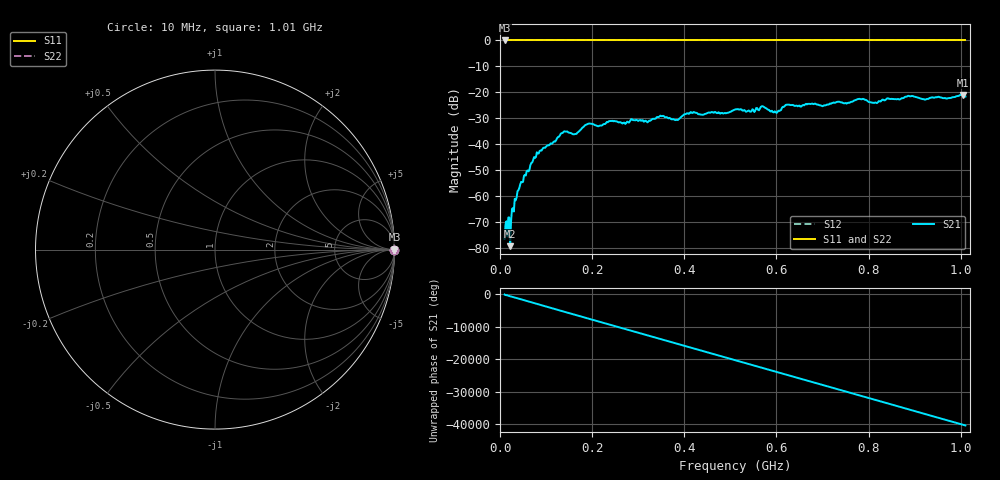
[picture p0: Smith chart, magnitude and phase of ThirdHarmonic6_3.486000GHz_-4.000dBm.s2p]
! 8/17/2025 11:20:52 AM
! C:\ANRITSUVNA\TEMP\TEMP.S2P
! CHANNEL.1
! TR.MEASUREMENT
! RAW.DATA
! RF.CORRECTION.OFF
! AVERAGING.OFF
! IF.BANDWIDTH: 5KHZ
! SWEEPTYPE:  FREQ.SWEEP(Linear)
! Reference Plane Port Info
! PORT:  PORT1  PORT2
! DISTANCE:  0  m  0  m
! TIME:  0  s  0  s
! PHASE.OFFSET:  0  deg.  0  deg.
! LOSS:  0  dB  0  dB
! REF.LOSS:  0  dB  0  dB
! REF.FREQ:  0  Hz  0  Hz
! Power Info
! POWER:  -20  dBm  -20  dBm
! EFF.POWER:  -20  dBm  -20  dBm
! SOURCE.ATTEN:  0  dB  0  dB
! TEST.ATTEN:  0  dB  0  dB
# GHZ S RI R 50.0
! FREQ.GHZ  S11RE  S11IM  S21RE  S21IM  S12RE  S12IM  S22RE  S22IM
!; PortSelection: Port_12
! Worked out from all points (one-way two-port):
!   501 points, 10 MHz to 1.01 GHz, reference 50 ohm
!   highest |S21| = -20.99 dB at 1.004 GHz (marker M1); lowest = -79.4 dB at 22 MHz (marker M2)
!   lowest |S11| = 0.0 dB at 10 MHz (marker M3)
!   |S11| at or under -10 dB: nowhere
!   |S22| runs from 0.0 to 0.0 dB; largest |S21 - S12| = 1.1
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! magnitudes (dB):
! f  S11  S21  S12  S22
! 10 MHz  0.0  -76.6  0.0  0.0
! 16 MHz  0.0  -75.6  0.0  0.0
! 20 MHz  0.0  -68.3  0.0  0.0
! 22 MHz  0.0  -79.4  0.0  0.0
! 26 MHz  0.0  -65.0  0.0  0.0
! 30 MHz  0.0  -66.0  0.0  0.0
! 42 MHz  0.0  -56.9  0.0  0.0
! 78 MHz  0.0  -45.0  0.0  0.0
! 136 MHz  0.0  -35.7  0.0  0.0
! 162 MHz  0.0  -36.1  0.0  0.0
! 178 MHz  0.0  -33.8  0.0  0.0
! 344 MHz  0.0  -29.6  0.0  0.0
! 384 MHz  0.0  -30.7  0.0  0.0
! 416 MHz  0.0  -27.9  0.0  0.0
! 510 MHz  0.0  -26.7  0.0  0.0
! 570 MHz  0.0  -25.4  0.0  0.0
! 598 MHz  0.0  -27.6  0.0  0.0
! 624 MHz  0.0  -24.8  0.0  0.0
! 678 MHz  0.0  -24.4  0.0  0.0
! 844 MHz  0.0  -22.5  0.0  0.0
! 1.004 GHz  0.0  -21.0  0.0  0.0
! 1.01 GHz  0.0  -21.6  0.0  0.0
